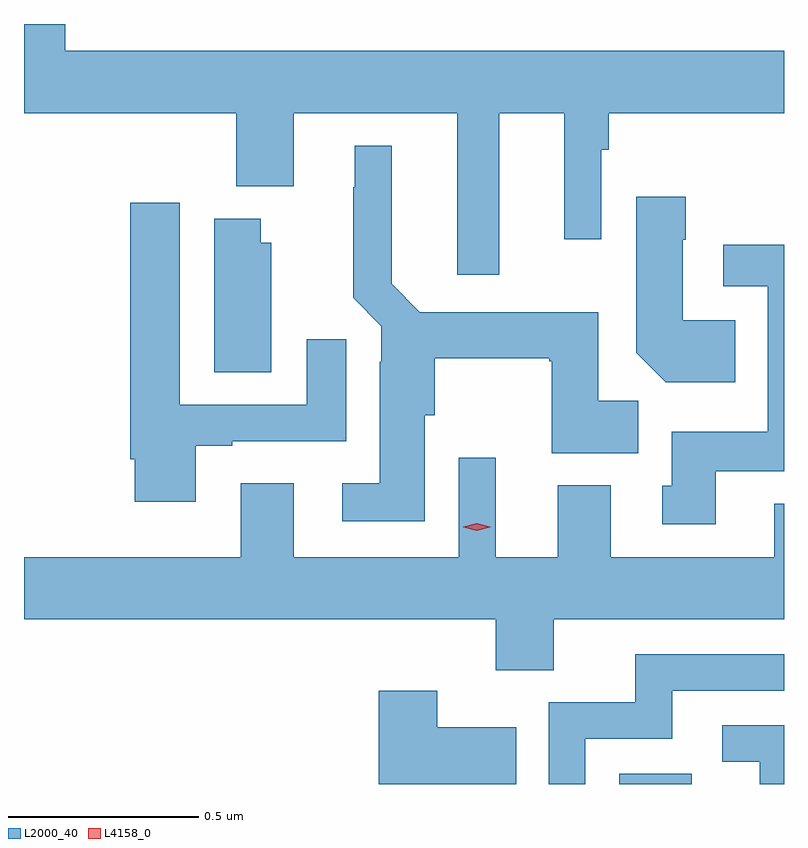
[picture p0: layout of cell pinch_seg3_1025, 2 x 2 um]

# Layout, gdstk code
import gdstk
lib = gdstk.Library(unit=1e-6, precision=1e-09)
def R(c, l, rs):  # rectangles x0, y0, x1, y1
    for r in rs: c.add(gdstk.rectangle(r[:2], r[2:], *l))
def P(c, l, *ps):  # polygons
    for p in ps: c.add(gdstk.Polygon(p, *l))
L2000_40 = (2000, 40)
L4158_0 = (4158, 0)

pinch_seg3_1025 = lib.new_cell('pinch_seg3_1025')
R(pinch_seg3_1025, L2000_40, [(485.885,667.183,486.076,667.21)])
P(pinch_seg3_1025, L2000_40, [(485.569,668.948),(485.741,668.948),(485.741,668.616),(485.838,668.616),(485.838,668.852),(485.858,668.852),(485.858,668.948),(486.319,668.948),(486.319,669.112),(484.427,669.112),(484.427,669.183),(484.319,669.183),(484.319,668.948),(484.877,668.948),(484.877,668.756),(485.029,668.756),(485.029,668.948),(485.459,668.948),(485.459,668.523),(485.569,668.523)],
  [(485.374,668.154),(485.4,668.154),(485.4,668.303),(485.701,668.303),(485.701,668.296),(485.708,668.296),(485.708,668.054),(485.935,668.054),(485.935,668.192),(485.83,668.192),(485.83,668.425),(485.361,668.425),(485.287,668.5),(485.287,668.863),(485.189,668.863),(485.189,668.753),(485.185,668.753),(485.185,668.462),(485.259,668.388),(485.259,668.294),(485.255,668.294),(485.255,667.975),(485.157,667.975),(485.157,667.874),(485.374,667.874)],
  [(486.191,668.404),(486.052,668.404),(486.052,668.615),(486.06,668.615),(486.06,668.728),(485.93,668.728),(485.93,668.318),(486.008,668.24),(486.191,668.24)],
  [(484.771,668.073),(484.867,668.073),(484.867,668.085),(485.167,668.085),(485.167,668.353),(485.063,668.353),(485.063,668.181),(484.729,668.181),(484.729,668.713),(484.598,668.713),(484.598,668.038),(484.61,668.038),(484.61,667.926),(484.771,667.926)],
  [(484.969,668.607),(484.942,668.607),(484.942,668.671),(484.82,668.671),(484.82,668.266),(484.969,668.266)],
  [(486.139,668.006),(486.319,668.006),(486.319,668.602),(486.159,668.602),(486.159,668.493),(486.276,668.493),(486.276,668.11),(486.023,668.11),(486.023,667.968),(485.999,667.968),(485.999,667.866),(486.139,667.866)],
  [(485.713,667.616),(486.319,667.616),(486.319,667.921),(486.293,667.921),(486.293,667.78),(485.863,667.78),(485.863,667.969),(485.723,667.969),(485.723,667.78),(485.56,667.78),(485.56,668.041),(485.463,668.041),(485.463,667.78),(485.029,667.78),(485.029,667.975),(484.889,667.975),(484.889,667.78),(484.319,667.78),(484.319,667.616),(485.561,667.616),(485.561,667.483),(485.713,667.483)],
  [(485.796,667.302),(486.025,667.302),(486.025,667.428),(486.319,667.428),(486.319,667.524),(485.927,667.524),(485.927,667.398),(485.7,667.398),(485.7,667.183),(485.796,667.183)],
  [(485.615,667.333),(485.406,667.333),(485.406,667.429),(485.252,667.429),(485.252,667.183),(485.615,667.183)],
  [(486.319,667.338),(486.156,667.338),(486.156,667.242),(486.255,667.242),(486.255,667.183),(486.319,667.183)])
P(pinch_seg3_1025, L4158_0, [(485.51,667.849),(485.475,667.859),(485.475,667.859),(485.475,667.86),(485.51,667.869),(485.546,667.86),(485.546,667.859),(485.546,667.859)])

lib.write_gds('pinch_seg3_1025.gds')
